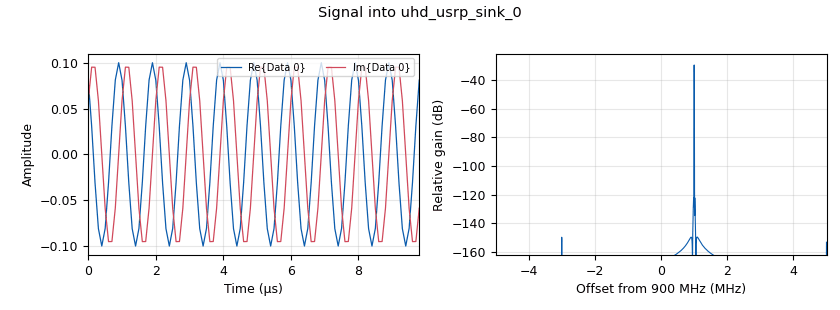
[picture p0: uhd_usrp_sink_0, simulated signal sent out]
<?xml version='1.0' encoding='utf-8'?>
<?grc format='1' created='3.7.10'?>
<flow_graph>
<block>
<key>options</key>
<param><key>id</key><value>usrp_tx_sine</value></param>
<param><key>generate_options</key><value>no_gui</value></param>
<param><key>run_options</key><value>run</value></param>
</block>
<block>
<key>variable</key>
<param><key>id</key><value>freq</value></param>
<param><key>value</key><value>900e6</value></param>
</block>
<block>
<key>variable</key>
<param><key>id</key><value>samp_rate</value></param>
<param><key>value</key><value>10e6</value></param>
</block>
<block>
<key>variable</key>
<param><key>id</key><value>sine_freq</value></param>
<param><key>value</key><value>1e6</value></param>
</block>
<block>
<key>variable</key>
<param><key>id</key><value>tx_gain</value></param>
<param><key>value</key><value>0</value></param>
</block>
<block>
<key>variable</key>
<param><key>id</key><value>usrp_addr</value></param>
<param><key>value</key><value>"type=usrp2"</value></param>
</block>
<block>
<key>analog_sig_source_x</key>
<param><key>id</key><value>analog_sig_source_x_0</value></param>
<param><key>amp</key><value>0.1</value></param>
<param><key>freq</key><value>sine_freq</value></param>
<param><key>offset</key><value>0</value></param>
<param><key>type</key><value>complex</value></param>
<param><key>samp_rate</key><value>samp_rate</value></param>
<param><key>waveform</key><value>analog.GR_SIN_WAVE</value></param>
</block>
<block>
<key>uhd_usrp_sink</key>
<param><key>id</key><value>uhd_usrp_sink_0</value></param>
<param><key>ant0</key><value>TX/RX</value></param>
<param><key>center_freq0</key><value>freq</value></param>
<param><key>norm_gain0</key><value>False</value></param>
<param><key>gain0</key><value>tx_gain</value></param>
<param><key>clock_rate</key><value>0.0</value></param>
<param><key>dev_addr</key><value>usrp_addr</value></param>
<param><key>dev_args</key><value>""</value></param>
<param><key>type</key><value>fc32</value></param>
<param><key>samp_rate</key><value>samp_rate</value></param>
<param><key>hide_cmd_port</key><value>False</value></param>
<param><key>hide_lo_controls</key><value>True</value></param>
<param><key>sync</key><value></value></param>
<param><key>len_tag_name</key><value></value></param>
</block>
<connection><source_block_id>analog_sig_source_x_0</source_block_id><sink_block_id>uhd_usrp_sink_0</sink_block_id><source_key>0</source_key><sink_key>0</sink_key></connection>
</flow_graph>
